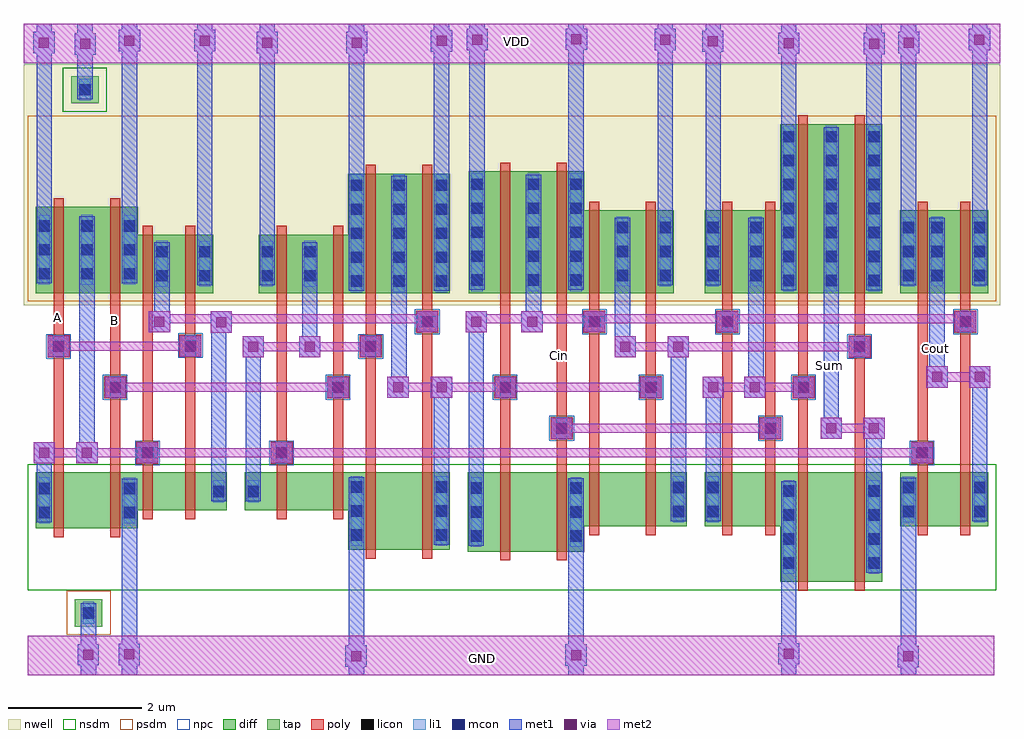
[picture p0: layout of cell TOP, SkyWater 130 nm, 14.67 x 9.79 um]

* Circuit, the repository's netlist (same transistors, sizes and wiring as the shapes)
** sch_path: /home/dat02/projects/cmos-full-adder-sky130/schematic/fulladder.sch
.subckt fulladder VDD GND Sum A B Cin Cout
*.PININFO A:I B:I Cin:I Cout:O Sum:O VDD:I GND:I
XM1 net1 A net2 GND sky130_fd_pr__nfet_01v8 L=0.15 W=0.84 nf=1
XM2 net1 A VDD VDD sky130_fd_pr__pfet_01v8 L=0.15 W=1.295 nf=1
XM3 net1 B VDD VDD sky130_fd_pr__pfet_01v8 L=0.15 W=1.295 nf=1
XM4 net2 B GND GND sky130_fd_pr__nfet_01v8 L=0.15 W=0.84 nf=1
XM5 net3 A net4 GND sky130_fd_pr__nfet_01v8 L=0.15 W=0.57 nf=1
XM6 net3 A VDD VDD sky130_fd_pr__pfet_01v8 L=0.15 W=0.88 nf=1
XM7 net3 net1 VDD VDD sky130_fd_pr__pfet_01v8 L=0.15 W=0.88 nf=1
XM8 net4 net1 GND GND sky130_fd_pr__nfet_01v8 L=0.15 W=0.57 nf=1
XM9 net5 net1 net6 GND sky130_fd_pr__nfet_01v8 L=0.15 W=0.57 nf=1
XM10 net5 net1 VDD VDD sky130_fd_pr__pfet_01v8 L=0.15 W=0.88 nf=1
XM11 net5 B VDD VDD sky130_fd_pr__pfet_01v8 L=0.15 W=0.88 nf=1
XM12 net6 B GND GND sky130_fd_pr__nfet_01v8 L=0.15 W=0.57 nf=1
XM13 net7 net3 net8 GND sky130_fd_pr__nfet_01v8 L=0.15 W=1.165 nf=1
XM14 net7 net3 VDD VDD sky130_fd_pr__pfet_01v8 L=0.15 W=1.795 nf=1
XM15 net7 net5 VDD VDD sky130_fd_pr__pfet_01v8 L=0.15 W=1.795 nf=1
XM16 net8 net5 GND GND sky130_fd_pr__nfet_01v8 L=0.15 W=1.165 nf=1
XM17 net9 net7 net10 GND sky130_fd_pr__nfet_01v8 L=0.15 W=1.19 nf=1
XM18 net9 net7 VDD VDD sky130_fd_pr__pfet_01v8 L=0.15 W=1.83 nf=1
XM19 net9 Cin VDD VDD sky130_fd_pr__pfet_01v8 L=0.15 W=1.83 nf=1
XM20 net10 Cin GND GND sky130_fd_pr__nfet_01v8 L=0.15 W=1.19 nf=1
XM21 net11 net7 net12 GND sky130_fd_pr__nfet_01v8 L=0.15 W=0.81 nf=1
XM22 net11 net7 VDD VDD sky130_fd_pr__pfet_01v8 L=0.15 W=1.245 nf=1
XM23 net11 net9 VDD VDD sky130_fd_pr__pfet_01v8 L=0.15 W=1.245 nf=1
XM24 net12 net9 GND GND sky130_fd_pr__nfet_01v8 L=0.15 W=0.81 nf=1
XM25 net13 net9 net14 GND sky130_fd_pr__nfet_01v8 L=0.15 W=0.81 nf=1
XM26 net13 net9 VDD VDD sky130_fd_pr__pfet_01v8 L=0.15 W=1.245 nf=1
XM27 net13 Cin VDD VDD sky130_fd_pr__pfet_01v8 L=0.15 W=1.245 nf=1
XM28 net14 Cin GND GND sky130_fd_pr__nfet_01v8 L=0.15 W=0.81 nf=1
XM29 Sum net11 net15 GND sky130_fd_pr__nfet_01v8 L=0.15 W=1.645 nf=1
XM30 Sum net11 VDD VDD sky130_fd_pr__pfet_01v8 L=0.15 W=2.54 nf=1
XM31 Sum net13 VDD VDD sky130_fd_pr__pfet_01v8 L=0.15 W=2.54 nf=1
XM32 net15 net13 GND GND sky130_fd_pr__nfet_01v8 L=0.15 W=1.645 nf=1
XM33 Cout net9 net16 GND sky130_fd_pr__nfet_01v8 L=0.15 W=0.81 nf=1
XM34 Cout net9 VDD VDD sky130_fd_pr__pfet_01v8 L=0.15 W=1.245 nf=1
XM35 Cout net1 VDD VDD sky130_fd_pr__pfet_01v8 L=0.15 W=1.245 nf=1
XM36 net16 net1 GND GND sky130_fd_pr__nfet_01v8 L=0.15 W=0.81 nf=1
.ends
.GLOBAL GND
.GLOBAL VDD

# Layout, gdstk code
from math import pi, radians
import gdstk
lib = gdstk.Library(unit=1e-6, precision=1e-09)
def R(c, l, rs):  # rectangles x0, y0, x1, y1
    for r in rs: c.add(gdstk.rectangle(r[:2], r[2:], *l))
def A(c, l, x, y, w, h, nx, ny, dx, dy):  # array of equal rectangles
    R(c, l, [(x+i*dx, y+j*dy, x+i*dx+w, y+j*dy+h) for i in range(nx) for j in range(ny)])
nwell = (64, 20)
diff = (65, 20)
tap = (65, 44)
poly = (66, 20)
licon = (66, 44)
li1 = (67, 20)
mcon = (67, 44)
met1 = (68, 20)
via = (68, 44)
met2 = (69, 20)
nsdm = (93, 44)
psdm = (94, 20)
npc = (95, 20)

contact_2 = lib.new_cell('Contact$2')
R(contact_2, poly, [(-0.165,-0.165,0.165,0.165)])
R(contact_2, licon, [(-0.085,-0.085,0.085,0.085)])
R(contact_2, li1, [(-0.085,-0.165,0.085,0.165)])
R(contact_2, npc, [(-0.185,-0.185,0.185,0.185)])

contact = lib.new_cell('Contact')
R(contact, met1, [(-0.16,-0.16,0.16,0.16)])
R(contact, via, [(-0.075,-0.075,0.075,0.075)])
R(contact, met2, [(-0.16,-0.16,0.16,0.16)])

contact_4 = lib.new_cell('Contact$4')
R(contact_4, li1, [(-0.085,-0.085,0.085,0.085)])
R(contact_4, mcon, [(-0.085,-0.085,0.085,0.085)])
R(contact_4, met1, [(-0.145,-0.145,0.145,0.145)])

via_poly_m2 = lib.new_cell('via_poly_m2')
via_poly_m2.add(gdstk.Reference(contact, (0.27,0.935)))
via_poly_m2.add(gdstk.Reference(contact_2, (0.27,0.935)))
via_poly_m2.add(gdstk.Reference(contact_4, (0.27,0.935)))

contact_5 = lib.new_cell('Contact$5')
R(contact_5, nwell, [(-0.385,-0.385,0.385,0.385)])
R(contact_5, tap, [(-0.205,-0.205,0.205,0.205)])
R(contact_5, licon, [(-0.085,-0.085,0.085,0.085)])
R(contact_5, li1, [(-0.085,-0.165,0.085,0.165)])
R(contact_5, nsdm, [(-0.33,-0.33,0.33,0.33)])

contact_6 = lib.new_cell('Contact$6')
R(contact_6, tap, [(-0.205,-0.205,0.205,0.205)])
R(contact_6, licon, [(-0.085,-0.085,0.085,0.085)])
R(contact_6, li1, [(-0.085,-0.165,0.085,0.165)])
R(contact_6, psdm, [(-0.33,-0.33,0.33,0.33)])

top = lib.new_cell('TOP')
R(top, nwell, [(0.35,-0.515,15.015,3.105)])
R(top, diff, [(11.715,-4.675,13.245,-3.03), (7.02,-4.22,8.77,-3.03), (5.22,-4.195,6.75,-3.03), (0.53,-3.87,2.06,-3.03), (8.665,-3.84,10.31,-3.03), (10.58,-3.84,11.905,-3.03), (10.58,-3.84,11.905,-3.03), (13.515,-3.84,14.835,-3.03), (1.995,-3.6,3.4,-3.03), (3.67,-3.6,5.325,-3.03), (0.53,-0.335,2.06,0.96), (1.995,-0.335,3.19,0.545), (3.88,-0.335,6.13,0.545), (5.22,-0.335,6.75,1.46), (7.03,-0.335,8.77,1.495), (8.24,-0.335,10.11,0.91), (10.58,-0.335,12.045,0.91), (11.715,-0.335,13.245,2.205), (13.515,-0.335,14.835,0.91)])
R(top, poly, [(11.98,-4.805,12.13,2.335), (12.83,-4.805,12.98,2.335), (7.505,-4.35,7.655,1.625), (8.355,-4.35,8.505,1.625), (5.485,-4.325,5.635,1.59), (6.335,-4.325,6.485,1.59), (0.795,-4,0.945,-2.9), (1.645,-4,1.795,-2.9), (8.845,-3.97,8.995,1.04), (9.695,-3.97,9.845,1.04), (10.845,-3.97,10.995,-0.59), (11.49,-3.97,11.64,1.04), (13.78,-3.97,13.93,-0.285), (14.42,-3.97,14.57,1.04), (1.645,-3.865,1.795,1.09), (2.135,-3.73,2.285,-2.925), (2.775,-3.73,2.925,-2.925), (4.145,-3.73,4.295,-2.935), (4.995,-3.73,5.145,0.675), (0.795,-3.71,0.945,1.09), (2.135,-3.625,2.285,0.675), (4.145,-3.585,4.295,0.675), (2.775,-3.57,2.925,0.675), (10.845,-0.755,10.995,1.04), (13.78,-0.465,13.93,1.04)])
A(top, licon, 11.755, -4.475, 0.17, 0.17, 1, 4, 0, 0.36)
A(top, licon, 13.035, -4.475, 0.17, 0.17, 1, 4, 0, 0.36)
A(top, licon, 7.06, -4.07, 0.17, 0.17, 1, 3, 0, 0.36)
A(top, licon, 8.56, -4.07, 0.17, 0.17, 1, 3, 0, 0.36)
A(top, licon, 5.26, -4.055, 0.17, 0.17, 1, 3, 0, 0.36)
A(top, licon, 6.54, -4.055, 0.17, 0.17, 1, 3, 0, 0.36)
A(top, licon, 11.755, -0.23, 0.17, 0.17, 3, 7, 0.64, 0.36)
A(top, licon, 9.26, -0.155, 0.17, 0.17, 1, 3, 0, 0.36)
A(top, licon, 9.9, -0.155, 0.17, 0.17, 1, 3, 0, 0.36)
A(top, licon, 10.62, -0.155, 0.17, 0.17, 1, 3, 0, 0.36)
A(top, licon, 11.265, -0.155, 0.17, 0.17, 1, 3, 0, 0.36)
A(top, licon, 13.555, -0.155, 0.17, 0.17, 1, 3, 0, 0.36)
A(top, licon, 13.985, -0.155, 0.17, 0.17, 1, 3, 0, 0.36)
A(top, licon, 14.625, -0.155, 0.17, 0.17, 1, 3, 0, 0.36)
A(top, licon, 0.57, -0.13, 0.17, 0.17, 3, 3, 0.64, 0.36)
R(top, licon, [(0.57,-3.715,0.74,-3.545), (1.85,-3.715,2.02,-3.545), (10.1,-3.7,10.27,-3.53), (10.62,-3.7,10.79,-3.53), (13.555,-3.7,13.725,-3.53), (14.625,-3.7,14.795,-3.53), (3.19,-3.4,3.36,-3.23), (3.71,-3.4,3.88,-3.23), (0.57,-3.355,0.74,-3.185), (1.85,-3.355,2.02,-3.185), (10.1,-3.34,10.27,-3.17), (10.62,-3.34,10.79,-3.17), (13.555,-3.34,13.725,-3.17), (14.625,-3.34,14.795,-3.17), (5.26,-0.24,5.43,-0.07), (5.26,-0.24,5.43,-0.07), (5.9,-0.24,6.07,-0.07), (5.9,-0.24,6.07,-0.07), (6.54,-0.24,6.71,-0.07), (6.54,-0.24,6.71,-0.07), (7.07,-0.225,7.24,-0.055), (7.07,-0.225,7.24,-0.055), (7.92,-0.225,8.09,-0.055), (7.92,-0.225,8.09,-0.055), (8.56,-0.225,8.73,-0.055), (8.56,-0.225,8.73,-0.055), (2.34,-0.16,2.51,0.01), (2.98,-0.16,3.15,0.01), (3.92,-0.16,4.09,0.01), (4.56,-0.16,4.73,0.01), (5.26,0.12,5.43,0.29), (5.26,0.12,5.43,0.29), (5.9,0.12,6.07,0.29), (5.9,0.12,6.07,0.29), (6.54,0.12,6.71,0.29), (6.54,0.12,6.71,0.29), (7.07,0.135,7.24,0.305), (7.07,0.135,7.24,0.305), (7.92,0.135,8.09,0.305), (7.92,0.135,8.09,0.305), (8.56,0.135,8.73,0.305), (8.56,0.135,8.73,0.305), (2.34,0.2,2.51,0.37), (2.98,0.2,3.15,0.37), (3.92,0.2,4.09,0.37), (4.56,0.2,4.73,0.37), (5.26,0.48,5.43,0.65), (5.26,0.48,5.43,0.65), (5.9,0.48,6.07,0.65), (5.9,0.48,6.07,0.65), (6.54,0.48,6.71,0.65), (6.54,0.48,6.71,0.65), (7.07,0.495,7.24,0.665), (7.07,0.495,7.24,0.665), (7.92,0.495,8.09,0.665), (7.92,0.495,8.09,0.665), (8.56,0.495,8.73,0.665), (8.56,0.495,8.73,0.665), (5.26,0.84,5.43,1.01), (5.26,0.84,5.43,1.01), (5.9,0.84,6.07,1.01), (5.9,0.84,6.07,1.01), (6.54,0.84,6.71,1.01), (6.54,0.84,6.71,1.01), (7.07,0.855,7.24,1.025), (7.07,0.855,7.24,1.025), (7.92,0.855,8.09,1.025), (7.92,0.855,8.09,1.025), (8.56,0.855,8.73,1.025), (8.56,0.855,8.73,1.025), (5.26,1.2,5.43,1.37), (5.26,1.2,5.43,1.37), (5.9,1.2,6.07,1.37), (5.9,1.2,6.07,1.37), (6.54,1.2,6.71,1.37), (6.54,1.2,6.71,1.37), (7.07,1.215,7.24,1.385), (7.07,1.215,7.24,1.385), (7.92,1.215,8.09,1.385), (7.92,1.215,8.09,1.385), (8.56,1.215,8.73,1.385), (8.56,1.215,8.73,1.385)])
A(top, li1, 11.755, -0.31, 0.17, 2.49, 3, 1, 0.64, 0)
A(top, li1, 0.57, -0.21, 0.17, 1.05, 3, 1, 0.64, 0)
R(top, li1, [(11.755,-4.555,11.925,-3.145), (13.035,-4.555,13.205,-3.145), (7.06,-4.15,7.23,-3.1), (8.56,-4.15,8.73,-3.1), (5.26,-4.135,5.43,-3.085), (6.54,-4.135,6.71,-3.085), (0.57,-3.795,0.74,-3.105), (1.85,-3.795,2.02,-3.105), (10.1,-3.78,10.27,-3.09), (10.62,-3.78,10.79,-3.09), (13.555,-3.78,13.725,-3.09), (14.625,-3.78,14.795,-3.09), (3.19,-3.48,3.36,-3.15), (3.71,-3.48,3.88,-3.15), (5.26,-0.32,5.43,1.45), (5.26,-0.32,5.43,1.45), (5.9,-0.32,6.07,1.45), (5.9,-0.32,6.07,1.45), (6.54,-0.32,6.71,1.45), (6.54,-0.32,6.71,1.45), (7.07,-0.305,7.24,1.465), (7.07,-0.305,7.24,1.465), (7.92,-0.305,8.09,1.465), (7.92,-0.305,8.09,1.465), (8.56,-0.305,8.73,1.465), (8.56,-0.305,8.73,1.465), (2.34,-0.24,2.51,0.45), (2.98,-0.24,3.15,0.45), (3.92,-0.24,4.09,0.45), (4.56,-0.24,4.73,0.45), (9.26,-0.235,9.43,0.815), (9.9,-0.235,10.07,0.815), (10.62,-0.235,10.79,0.815), (11.265,-0.235,11.435,0.815), (13.555,-0.235,13.725,0.815), (13.985,-0.235,14.155,0.815), (14.625,-0.235,14.795,0.815), (0.57,-0.21,0.74,0.84), (0.57,-0.21,0.74,0.84)])
A(top, mcon, 11.755, -4.475, 0.17, 0.17, 1, 4, 0, 0.36)
A(top, mcon, 13.035, -4.475, 0.17, 0.17, 1, 4, 0, 0.36)
A(top, mcon, 7.06, -4.07, 0.17, 0.17, 1, 3, 0, 0.36)
A(top, mcon, 8.56, -4.07, 0.17, 0.17, 1, 3, 0, 0.36)
A(top, mcon, 5.26, -4.055, 0.17, 0.17, 1, 3, 0, 0.36)
A(top, mcon, 6.54, -4.055, 0.17, 0.17, 1, 3, 0, 0.36)
A(top, mcon, 11.755, -0.23, 0.17, 0.17, 3, 7, 0.64, 0.36)
A(top, mcon, 9.26, -0.155, 0.17, 0.17, 1, 3, 0, 0.36)
A(top, mcon, 9.9, -0.155, 0.17, 0.17, 1, 3, 0, 0.36)
A(top, mcon, 10.62, -0.155, 0.17, 0.17, 1, 3, 0, 0.36)
A(top, mcon, 11.265, -0.155, 0.17, 0.17, 1, 3, 0, 0.36)
A(top, mcon, 13.555, -0.155, 0.17, 0.17, 1, 3, 0, 0.36)
A(top, mcon, 13.985, -0.155, 0.17, 0.17, 1, 3, 0, 0.36)
A(top, mcon, 14.625, -0.155, 0.17, 0.17, 1, 3, 0, 0.36)
A(top, mcon, 0.57, -0.13, 0.17, 0.17, 3, 3, 0.64, 0.36)
R(top, mcon, [(1.235,-5.225,1.405,-5.055), (0.57,-3.715,0.74,-3.545), (1.85,-3.715,2.02,-3.545), (10.1,-3.7,10.27,-3.53), (10.62,-3.7,10.79,-3.53), (13.555,-3.7,13.725,-3.53), (14.625,-3.7,14.795,-3.53), (3.19,-3.4,3.36,-3.23), (3.71,-3.4,3.88,-3.23), (0.57,-3.355,0.74,-3.185), (1.85,-3.355,2.02,-3.185), (10.1,-3.34,10.27,-3.17), (10.62,-3.34,10.79,-3.17), (13.555,-3.34,13.725,-3.17), (14.625,-3.34,14.795,-3.17), (5.26,-0.24,5.43,-0.07), (5.26,-0.24,5.43,-0.07), (5.9,-0.24,6.07,-0.07), (5.9,-0.24,6.07,-0.07), (6.54,-0.24,6.71,-0.07), (6.54,-0.24,6.71,-0.07), (7.07,-0.225,7.24,-0.055), (7.07,-0.225,7.24,-0.055), (7.92,-0.225,8.09,-0.055), (7.92,-0.225,8.09,-0.055), (8.56,-0.225,8.73,-0.055), (8.56,-0.225,8.73,-0.055), (2.34,-0.16,2.51,0.01), (2.98,-0.16,3.15,0.01), (3.92,-0.16,4.09,0.01), (4.56,-0.16,4.73,0.01), (5.26,0.12,5.43,0.29), (5.26,0.12,5.43,0.29), (5.9,0.12,6.07,0.29), (5.9,0.12,6.07,0.29), (6.54,0.12,6.71,0.29), (6.54,0.12,6.71,0.29), (7.07,0.135,7.24,0.305), (7.07,0.135,7.24,0.305), (7.92,0.135,8.09,0.305), (7.92,0.135,8.09,0.305), (8.56,0.135,8.73,0.305), (8.56,0.135,8.73,0.305), (2.34,0.2,2.51,0.37), (2.98,0.2,3.15,0.37), (3.92,0.2,4.09,0.37), (4.56,0.2,4.73,0.37), (5.26,0.48,5.43,0.65), (5.26,0.48,5.43,0.65), (5.9,0.48,6.07,0.65), (5.9,0.48,6.07,0.65), (6.54,0.48,6.71,0.65), (6.54,0.48,6.71,0.65), (7.07,0.495,7.24,0.665), (7.07,0.495,7.24,0.665), (7.92,0.495,8.09,0.665), (7.92,0.495,8.09,0.665), (8.56,0.495,8.73,0.665), (8.56,0.495,8.73,0.665), (5.26,0.84,5.43,1.01), (5.26,0.84,5.43,1.01), (5.9,0.84,6.07,1.01), (5.9,0.84,6.07,1.01), (6.54,0.84,6.71,1.01), (6.54,0.84,6.71,1.01), (7.07,0.855,7.24,1.025), (7.07,0.855,7.24,1.025), (7.92,0.855,8.09,1.025), (7.92,0.855,8.09,1.025), (8.56,0.855,8.73,1.025), (8.56,0.855,8.73,1.025), (5.26,1.2,5.43,1.37), (5.26,1.2,5.43,1.37), (5.9,1.2,6.07,1.37), (5.9,1.2,6.07,1.37), (6.54,1.2,6.71,1.37), (6.54,1.2,6.71,1.37), (7.07,1.215,7.24,1.385), (7.07,1.215,7.24,1.385), (7.92,1.215,8.09,1.385), (7.92,1.215,8.09,1.385), (8.56,1.215,8.73,1.385), (8.56,1.215,8.73,1.385), (1.18,2.635,1.35,2.805)])
R(top, met1, [(1.205,-6.08,1.435,-4.995), (1.82,-6.08,2.05,-3.125), (5.23,-6.08,5.46,-3.105), (8.53,-6.08,8.76,-3.12), (11.725,-6.08,11.955,-3.165), (13.525,-6.08,13.755,-3.11), (13.005,-4.535,13.235,-2.295), (7.03,-4.13,7.26,-0.695), (6.51,-4.115,6.74,-1.68), (0.54,-3.775,0.77,-2.665), (10.07,-3.76,10.3,-1.07), (10.59,-3.76,10.82,-1.68), (14.595,-3.76,14.825,-1.525), (3.16,-3.46,3.39,-0.695), (3.68,-3.46,3.91,-1.07), (1.18,-2.805,1.41,0.82), (12.365,-2.435,12.595,2.16), (5.87,-1.82,6.1,1.43), (11.235,-1.82,11.465,0.795), (13.955,-1.665,14.185,0.795), (4.53,-1.21,4.76,0.43), (9.23,-1.21,9.46,0.795), (2.31,-0.79,2.54,0.43), (7.89,-0.79,8.12,1.445), (5.23,-0.3,5.46,3.715), (6.51,-0.3,6.74,3.715), (11.725,-0.29,11.955,3.715), (13.005,-0.29,13.235,3.715), (7.04,-0.285,7.27,3.715), (8.53,-0.285,8.76,3.715), (2.95,-0.22,3.18,3.71), (3.89,-0.22,4.12,3.715), (9.87,-0.215,10.1,3.715), (10.59,-0.215,10.82,3.715), (13.525,-0.215,13.755,3.715), (14.595,-0.215,14.825,3.715), (0.54,-0.19,0.77,3.71), (1.82,-0.19,2.05,3.71), (1.15,2.575,1.38,3.715)])
R(top, met2, [(0.41,-6.08,14.925,-5.48), (0.54,-2.805,13.91,-2.665), (8.335,-2.435,11.61,-2.295), (12.335,-2.435,13.235,-2.295), (1.645,-1.82,5.135,-1.68), (5.865,-1.82,9.82,-1.68), (10.59,-1.82,12.1,-1.68), (14,-1.665,14.825,-1.525), (3.68,-1.21,5.62,-1.07), (9.23,-1.21,12.975,-1.07), (0.795,-1.205,2.925,-1.065), (2.3,-0.79,6.47,-0.65), (7.03,-0.79,14.575,-0.65), (0.35,3.115,15.015,3.715)])
R(top, nsdm, [(0.405,-4.8,14.96,-2.905)])
R(top, psdm, [(0.405,-0.46,14.96,2.33)])
top.add(gdstk.Reference(contact_2, (6.41,-0.765), rotation=pi/2))
top.add(gdstk.Reference(contact, (6.41,-0.765)))
top.add(gdstk.Reference(contact_4, (6.41,-0.765)))
top.add(gdstk.Reference(via_poly_m2, (0.6,-2.07)))
top.add(gdstk.Reference(contact, (2.85,-1.135)))
top.add(gdstk.Reference(contact_4, (2.85,-1.135)))
top.add(gdstk.Reference(contact_2, (2.85,-1.125)))
top.add(gdstk.Reference(contact, (2.385,-0.765)))
top.add(gdstk.Reference(contact, (5.07,-1.75)))
top.add(gdstk.Reference(contact_2, (5.07,-1.75)))
top.add(gdstk.Reference(contact_4, (5.07,-1.75)))
top.add(gdstk.Reference(contact_2, (1.72,-1.75)))
top.add(gdstk.Reference(contact_4, (1.72,-1.75)))
top.add(gdstk.Reference(contact, (1.72,-1.75)))
top.add(gdstk.Reference(contact, (3.795,-1.14)))
top.add(gdstk.Reference(contact, (4.645,-1.14)))
top.add(gdstk.Reference(contact, (5.56,-1.135)))
top.add(gdstk.Reference(contact_2, (5.56,-1.135)))
top.add(gdstk.Reference(contact_4, (5.56,-1.135)))
top.add(gdstk.Reference(contact, (5.97,-1.75)))
top.add(gdstk.Reference(contact, (6.625,-1.75)))
top.add(gdstk.Reference(contact, (7.58,-1.75)))
top.add(gdstk.Reference(contact_2, (7.58,-1.75)))
top.add(gdstk.Reference(contact_4, (7.58,-1.75)))
top.add(gdstk.Reference(contact, (9.77,-1.75)))
top.add(gdstk.Reference(contact_2, (9.77,-1.75)))
top.add(gdstk.Reference(contact_4, (9.77,-1.75)))
top.add(gdstk.Reference(contact, (7.145,-0.765)))
top.add(gdstk.Reference(contact, (7.985,-0.765)))
top.add(gdstk.Reference(contact_4, (8.92,-0.765), rotation=pi/2))
top.add(gdstk.Reference(contact_2, (8.92,-0.765), rotation=pi/2))
top.add(gdstk.Reference(contact, (8.92,-0.765), rotation=pi/2))
top.add(gdstk.Reference(contact_4, (10.92,-0.765)))
top.add(gdstk.Reference(contact_2, (10.92,-0.765)))
top.add(gdstk.Reference(contact, (10.92,-0.765)))
top.add(gdstk.Reference(contact, (10.18,-1.14)))
top.add(gdstk.Reference(contact, (12.905,-1.14)))
top.add(gdstk.Reference(contact_2, (12.905,-1.14)))
top.add(gdstk.Reference(contact_4, (12.905,-1.14)))
top.add(gdstk.Reference(contact, (10.705,-1.75)))
top.add(gdstk.Reference(contact, (11.33,-1.75)))
top.add(gdstk.Reference(contact, (12.065,-1.75)))
top.add(gdstk.Reference(contact_2, (12.065,-1.75)))
top.add(gdstk.Reference(contact_4, (12.065,-1.75)))
top.add(gdstk.Reference(contact, (11.565,-2.365)))
top.add(gdstk.Reference(contact_2, (11.565,-2.365)))
top.add(gdstk.Reference(contact_4, (11.565,-2.365)))
top.add(gdstk.Reference(contact, (8.43,-2.365)))
top.add(gdstk.Reference(contact_2, (8.43,-2.365)))
top.add(gdstk.Reference(contact_4, (8.43,-2.365)))
top.add(gdstk.Reference(contact, (12.48,-2.365)))
top.add(gdstk.Reference(contact, (13.12,-2.365)))
top.add(gdstk.Reference(contact, (0.655,-2.735)))
top.add(gdstk.Reference(contact, (1.295,-2.735)))
top.add(gdstk.Reference(contact_4, (2.205,-2.735), rotation=pi/2))
top.add(gdstk.Reference(contact_2, (2.205,-2.735), rotation=pi/2))
top.add(gdstk.Reference(contact, (2.205,-2.735), rotation=pi/2))
top.add(gdstk.Reference(contact_2, (4.22,-2.735)))
top.add(gdstk.Reference(contact, (4.22,-2.735)))
top.add(gdstk.Reference(contact_4, (4.22,-2.735)))
top.add(gdstk.Reference(contact_2, (14.495,-0.765)))
top.add(gdstk.Reference(contact, (14.495,-0.765)))
top.add(gdstk.Reference(contact, (14.07,-1.595)))
top.add(gdstk.Reference(contact_4, (13.845,-2.735), rotation=pi/2))
top.add(gdstk.Reference(contact_2, (13.845,-2.735), rotation=pi/2))
top.add(gdstk.Reference(contact, (13.845,-2.735), rotation=pi/2))
top.add(gdstk.Reference(contact, (14.71,-1.595)))
top.add(gdstk.Reference(contact_4, (14.495,-0.765)))
top.add(gdstk.Reference(contact, (0.65,3.43)))
top.add(gdstk.Reference(contact, (1.935,3.46)))
top.add(gdstk.Reference(contact, (3.065,3.46)))
top.add(gdstk.Reference(contact, (4.005,3.43)))
top.add(gdstk.Reference(contact, (5.35,3.43)))
top.add(gdstk.Reference(contact, (6.625,3.455)))
top.add(gdstk.Reference(contact, (7.16,3.475)))
top.add(gdstk.Reference(contact, (8.65,3.48)))
top.add(gdstk.Reference(contact, (9.985,3.475)))
top.add(gdstk.Reference(contact, (10.7,3.45)))
top.add(gdstk.Reference(contact, (11.84,3.42)))
top.add(gdstk.Reference(contact, (13.125,3.415)))
top.add(gdstk.Reference(contact, (13.645,3.43)))
top.add(gdstk.Reference(contact, (14.705,3.475)))
top.add(gdstk.Reference(contact, (1.93,-5.765)))
top.add(gdstk.Reference(contact, (5.34,-5.79)))
top.add(gdstk.Reference(contact, (8.645,-5.775)))
top.add(gdstk.Reference(contact, (11.84,-5.755)))
top.add(gdstk.Reference(contact, (13.635,-5.795)))
top.add(gdstk.Reference(contact, (3.315,-0.77)))
top.add(gdstk.Reference(contact, (9.385,-1.14)))
top.add(gdstk.Reference(contact_5, (1.265,2.72)))
top.add(gdstk.Reference(contact, (1.27,3.41)))
top.add(gdstk.Reference(contact_6, (1.32,-5.14)))
top.add(gdstk.Reference(contact, (1.315,-5.77)))
top.add(gdstk.Label('B', (1.715,-0.74), layer=66, texttype=16))
top.add(gdstk.Label('A', (0.855,-0.7), layer=66, texttype=16))
top.add(gdstk.Label('Cin', (8.395,-1.28), layer=66, texttype=16))
top.add(gdstk.Label('Sum', (12.46,-1.43), layer=68, texttype=16))
top.add(gdstk.Label('Cout', (14.04,-1.16), layer=68, texttype=16))
top.add(gdstk.Label('VDD', (7.745,3.45), layer=69, texttype=16))
top.add(gdstk.Label('GND', (7.24,-5.82), layer=69, texttype=16))

lib.write_gds('TOP.gds')
